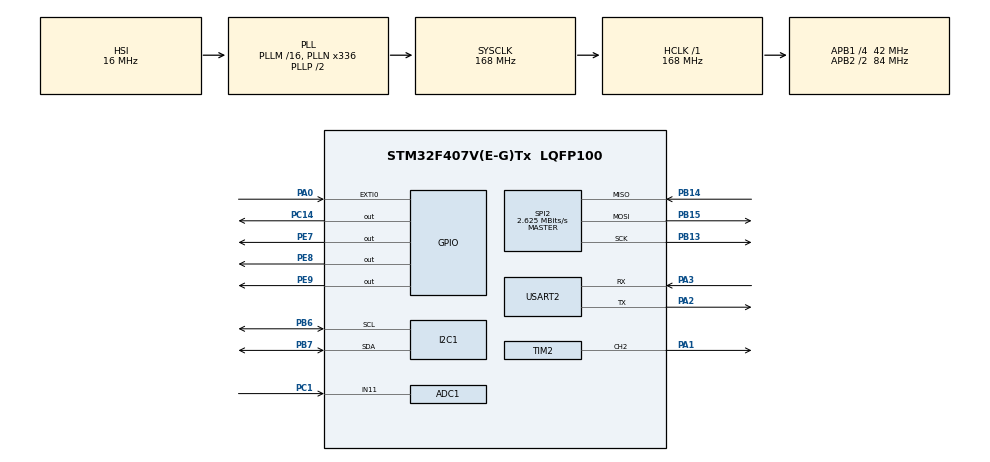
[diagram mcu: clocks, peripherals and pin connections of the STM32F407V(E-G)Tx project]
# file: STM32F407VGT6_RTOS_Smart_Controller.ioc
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ADC1.Channel-1\#ChannelRegularConversion=ADC_CHANNEL_11
ADC1.ContinuousConvMode=ENABLE
ADC1.DMAContinuousRequests=ENABLE
ADC1.InjNumberOfConversion=0
ADC1.NbrOfConversionFlag=1
ADC1.Rank-1\#ChannelRegularConversion=1
ADC1.SamplingTime-1\#ChannelRegularConversion=ADC_SAMPLETIME_56CYCLES
ADC1.master=1
Dma.ADC1.0.Direction=DMA_PERIPH_TO_MEMORY
Dma.ADC1.0.FIFOMode=DMA_FIFOMODE_DISABLE
Dma.ADC1.0.Instance=DMA2_Stream0
Dma.ADC1.0.MemDataAlignment=DMA_MDATAALIGN_HALFWORD
Dma.ADC1.0.MemInc=DMA_MINC_ENABLE
Dma.ADC1.0.Mode=DMA_CIRCULAR
Dma.ADC1.0.PeriphDataAlignment=DMA_PDATAALIGN_HALFWORD
Dma.ADC1.0.PeriphInc=DMA_PINC_DISABLE
Dma.ADC1.0.Priority=DMA_PRIORITY_LOW
Dma.Request0=ADC1
Dma.Request1=USART2_RX
Dma.USART2_RX.1.Direction=DMA_PERIPH_TO_MEMORY
Dma.USART2_RX.1.FIFOMode=DMA_FIFOMODE_DISABLE
Dma.USART2_RX.1.Instance=DMA1_Stream5
Dma.USART2_RX.1.MemDataAlignment=DMA_MDATAALIGN_BYTE
Dma.USART2_RX.1.MemInc=DMA_MINC_ENABLE
Dma.USART2_RX.1.Mode=DMA_NORMAL
Dma.USART2_RX.1.PeriphDataAlignment=DMA_PDATAALIGN_BYTE
Dma.USART2_RX.1.PeriphInc=DMA_PINC_DISABLE
Dma.USART2_RX.1.Priority=DMA_PRIORITY_LOW
FREERTOS.Tasks01=backgroundTask,24,256,StartBackgroundTask,Default,NULL,Dynamic,NULL,NULL;sensorTask,24,256,StartSensorTask,Default,NULL,Dynamic,NULL,NULL;displayTask,8,256,StartDisplayTask,Default,NULL,Dynamic,NULL,NULL;controlTask,32,256,StartControlTask,Default,NULL,Dynamic,NULL,NULL;uartTask,24,256,StartUartTask,Default,NULL,Dynamic,NULL,NULL
FREERTOS.configCHECK_FOR_STACK_OVERFLOW=2
FREERTOS.configUSE_NEWLIB_REENTRANT=1
Mcu.Family=STM32F4
Mcu.Name=STM32F407V(E-G)Tx
Mcu.Package=LQFP100
NVIC.DMA1_Stream5_IRQn=true\:5\:0\:false\:false\:true\:true\:false\:true\:true
NVIC.DMA2_Stream0_IRQn=true\:5\:0\:false\:false\:true\:true\:false\:true\:true
NVIC.EXTI0_IRQn=true\:5\:0\:false\:false\:true\:true\:true\:true\:true
NVIC.PriorityGroup=NVIC_PRIORITYGROUP_4
NVIC.TIM6_DAC_IRQn=true\:15\:0\:false\:false\:true\:false\:false\:true\:true
NVIC.TimeBase=TIM6_DAC_IRQn
NVIC.TimeBaseIP=TIM6
NVIC.USART2_IRQn=true\:5\:0\:false\:false\:true\:true\:true\:true\:true
PA0-WKUP.GPIO_PuPd=GPIO_PULLDOWN
PA0-WKUP.Signal=GPXTI0
PA1.Signal=S_TIM2_CH2
PA13.Mode=Serial_Wire
PA13.Signal=SYS_JTMS-SWDIO
PA14.Mode=Serial_Wire
PA14.Signal=SYS_JTCK-SWCLK
PA2.Mode=Asynchronous
PA2.Signal=USART2_TX
PA3.Mode=Asynchronous
PA3.Signal=USART2_RX
PB13.Mode=Full_Duplex_Master
PB13.Signal=SPI2_SCK
PB14.Mode=Full_Duplex_Master
PB14.Signal=SPI2_MISO
PB15.Mode=Full_Duplex_Master
PB15.Signal=SPI2_MOSI
PB6.Mode=I2C
PB6.Signal=I2C1_SCL
PB7.Mode=I2C
PB7.Signal=I2C1_SDA
PC1.Signal=ADCx_IN11
PC14-OSC32_IN.Signal=GPIO_Output
PE7.PinState=GPIO_PIN_SET
PE7.Signal=GPIO_Output
PE8.Signal=GPIO_Output
PE9.Signal=GPIO_Output
ProjectManager.HeapSize=0x200
ProjectManager.StackSize=0x400
ProjectManager.TargetToolchain=STM32CubeIDE
RCC.48MHZClocksFreq_Value=84000000
RCC.AHBFreq_Value=168000000
RCC.APB1CLKDivider=RCC_HCLK_DIV4
RCC.APB1Freq_Value=42000000
RCC.APB1TimFreq_Value=84000000
RCC.APB2CLKDivider=RCC_HCLK_DIV2
RCC.APB2Freq_Value=84000000
RCC.APB2TimFreq_Value=168000000
RCC.CortexFreq_Value=168000000
RCC.HCLKFreq_Value=168000000
RCC.HSE_VALUE=25000000
RCC.HSI_VALUE=16000000
RCC.LSE_VALUE=32768
RCC.PLLN=336
RCC.SYSCLKFreq_VALUE=168000000
RCC.SYSCLKSource=RCC_SYSCLKSOURCE_PLLCLK
RCC.VCOOutputFreq_Value=336000000
SH.ADCx_IN11.0=ADC1_IN11,IN11
SH.S_TIM2_CH2.0=TIM2_CH2,PWM Generation2 CH2
SPI2.BaudRatePrescaler=SPI_BAUDRATEPRESCALER_16
SPI2.CalculateBaudRate=2.625 MBits/s
SPI2.Direction=SPI_DIRECTION_2LINES
SPI2.Mode=SPI_MODE_MASTER
SPI2.VirtualType=VM_MASTER
TIM2.Channel-PWM\ Generation2\ CH2=TIM_CHANNEL_2
TIM2.Period=999
TIM2.Prescaler=83
USART2.VirtualMode=VM_ASYNC
VP_FREERTOS_VS_CMSIS_V2.Mode=CMSIS_V2
VP_SYS_VS_tim6.Mode=TIM6
board=custom

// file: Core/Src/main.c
/* USER CODE BEGIN Header */
/**
  ******************************************************************************
  * @file           : main.c
  * @brief          : Main program body
  ******************************************************************************
  * @attention
  *
  * Copyright (c) 2026 STMicroelectronics.
  * All rights reserved.
  *
  * This software is licensed under terms that can be found in the LICENSE file
  * in the root directory of this software component.
  * If no LICENSE file comes with this software, it is provided AS-IS.
  *
  ******************************************************************************
  */
/* USER CODE END Header */
#include "main.h"
#include "cmsis_os.h"

/* USER CODE BEGIN Includes */
#include <stdio.h>
#include <string.h>
#include "protocol.h"
#include "analog_input.h"
#include "pwm.h"
#include "temperature_sensor.h"
#include "oled.h"
#include "system_state.h"
#include "fault_manager.h"
/* USER CODE END Includes */

/* USER CODE BEGIN PTD */

typedef struct
{
    char text[UART_TX_BUFFER_SIZE];

} UartResponse_t;

/* USER CODE END PTD */

/* USER CODE BEGIN PD */

#define SENSOR_UPDATE_PERIOD_MS     500U

#define DISPLAY_UPDATE_PERIOD_MS    200U

#define TEMP_SENSOR_FAIL_LIMIT      3U

#define CONTROL_UPDATE_PERIOD_MS    20U

#define UART_RX_EVENT_FLAG    (1U << 0)
#define UART_TX_EVENT_FLAG    (1U << 1)
#define COMMAND_QUEUE_DEPTH    8U
#define RESPONSE_QUEUE_DEPTH   8U

#define SENSOR_RECOVERY_REQUEST_FLAG    (1U << 0)

#define CONTROL_RECOVERY_OK_FLAG        (1U << 0)
#define CONTROL_RECOVERY_FAIL_FLAG      (1U << 1)

#define CONTROL_FAULT_EVENT_FLAG      (1U << 2)

/* AUTO mode: 25 C = 0%, 40 C = 100% PWM */
#define AUTO_TEMP_MIN_X10          250

#define AUTO_TEMP_MAX_X10          400

/* USER CODE END PD */

ADC_HandleTypeDef hadc1;
DMA_HandleTypeDef hdma_adc1;

I2C_HandleTypeDef hi2c1;

SPI_HandleTypeDef hspi2;

TIM_HandleTypeDef htim2;

UART_HandleTypeDef huart2;
DMA_HandleTypeDef hdma_usart2_rx;

/* Definitions for backgroundTask */
osThreadId_t backgroundTaskHandle;
const osThreadAttr_t backgroundTask_attributes = {
  .name = "backgroundTask",
  .stack_size = 256 * 4,
  .priority = (osPriority_t) osPriorityNormal,
};
/* Definitions for sensorTask */
osThreadId_t sensorTaskHandle;
const osThreadAttr_t sensorTask_attributes = {
  .name = "sensorTask",
  .stack_size = 256 * 4,
  .priority = (osPriority_t) osPriorityNormal,
};
/* Definitions for displayTask */
osThreadId_t displayTaskHandle;
const osThreadAttr_t displayTask_attributes = {
  .name = "displayTask",
  .stack_size = 256 * 4,
  .priority = (osPriority_t) osPriorityLow,
};
/* Definitions for controlTask */
osThreadId_t controlTaskHandle;
const osThreadAttr_t controlTask_attributes = {
  .name = "controlTask",
  .stack_size = 256 * 4,
  .priority = (osPriority_t) osPriorityAboveNormal,
};
/* Definitions for uartTask */
osThreadId_t uartTaskHandle;
const osThreadAttr_t uartTask_attributes = {
  .name = "uartTask",
  .stack_size = 256 * 4,
  .priority = (osPriority_t) osPriorityNormal,
};
/* USER CODE BEGIN PV */

volatile uint8_t button_event = 0;

volatile uint16_t uart_rx_length = 0;

/* Data received by UART DMA */
uint8_t uart_rx_buffer[UART_RX_BUFFER_SIZE + 1U];

/* Stores one complete UART command */
char uart_line_buffer[UART_RX_BUFFER_SIZE + 1U];

static uint16_t uart_line_length = 0U;

/* UART response */
char uart_tx_buffer[UART_TX_BUFFER_SIZE];

/* Result after ASCII parsing. */
ProtocolCommand_t received_command;

/*
 * Latest valid temperature.
 *
 * Unit:
 * Celsius x10
 *
 * 25.5 C = 255
 */
static int16_t latest_temperature_x10 = 0;

/*
 * Software timing.
 */
static uint8_t temp_sensor_fail_count = 0;

TempSensorStatus_t debug_temp_init;
TempSensorStatus_t debug_temp_read;

static osMessageQueueId_t commandQueueHandle;
static osMessageQueueId_t responseQueueHandle;

static osEventFlagsId_t faultEventHandle;

static uint8_t recovery_pending = 0U;

volatile uint32_t stack_free_background = 0U;
volatile uint32_t stack_free_sensor     = 0U;
volatile uint32_t stack_free_display    = 0U;
volatile uint32_t stack_free_control    = 0U;
volatile uint32_t stack_free_uart       = 0U;

/* USER CODE END PV */

void SystemClock_Config(void);
static void MX_GPIO_Init(void);
static void MX_DMA_Init(void);
static void MX_ADC1_Init(void);
static void MX_I2C1_Init(void);
static void MX_TIM2_Init(void);
static void MX_SPI2_Init(void);
static void MX_USART2_UART_Init(void);
void StartBackgroundTask(void *argument);
void StartSensorTask(void *argument);
void StartDisplayTask(void *argument);
void StartControlTask(void *argument);
void StartUartTask(void *argument);

/* USER CODE BEGIN PFP */

/* =========================================================
 * Common / Utility
 * ========================================================= */
static const char *App_StateToString(
    SystemState_t state
);

/* =========================================================
 * UART
 * ========================================================= */
static void App_SendText(const char *text);

static void App_StartUartReceive(void);

static void App_ProcessUartRxData(void);

static void App_ProcessUartCommand(void);

static void App_HandleCommand(void);

static void App_SendStatus(void);

static void App_QueueResponse(const UartResponse_t *response);

/* =========================================================
 * Sensor
 * ========================================================= */
static void App_ProcessSensor(void);

static uint8_t App_RecoverTemperatureSensor(void);

/* =========================================================
 * Fault Management
 * ========================================================= */
static void App_ReportFault(uint16_t fault);

static void App_ProcessPendingFaults(void);

static void App_CheckCriticalFault(void);

/* =========================================================
 * Control
 * ========================================================= */
static void App_HandleControlCommand(const ProtocolCommand_t *command);

static void App_ProcessControl(void);

/* =========================================================
 * Display
 * ========================================================= */
static void App_ProcessDisplay(void);

/* =========================================================
 * Background
 * ========================================================= */
static void App_ProcessBackground(void);

static void App_UpdateStackUsage(void);

/* USER CODE END PFP */

/* USER CODE BEGIN 0 */

static const char *App_StateToString(
    SystemState_t state
)
{
    switch (state)
    {
        case SYSTEM_STATE_INIT:
            return "INIT";

        case SYSTEM_STATE_IDLE:
            return "IDLE";

        case SYSTEM_STATE_MANUAL:
            return "MANUAL";

        case SYSTEM_STATE_AUTO:
            return "AUTO";

        case SYSTEM_STATE_FAULT:
            return "FAULT";

        default:
            return "UNKNOWN";
    }
}

static void App_SendText(const char *text)
{
    HAL_UART_Transmit(
        &huart2,

        (uint8_t *)text,

        (uint16_t)strlen(text),

        100
    );
}

static void App_StartUartReceive(void)
{
    uart_rx_length = 0U;

    /*
     * Clear old contents.
     */
    memset(
        uart_rx_buffer,
        0,
        sizeof(uart_rx_buffer)
    );

    /* Start UART DMA receive with IDLE detection */
    HAL_UARTEx_ReceiveToIdle_DMA(
        &huart2,

        uart_rx_buffer,

        UART_RX_BUFFER_SIZE
    );

    /* Half-transfer event is not needed */
    if (huart2.hdmarx != NULL)
    {
        __HAL_DMA_DISABLE_IT(
            huart2.hdmarx,
            DMA_IT_HT
        );
    }
}

static void App_ProcessUartRxData(void)
{
    uint16_t received_length;
    uint16_t i;

    received_length = uart_rx_length;

    if (received_length > UART_RX_BUFFER_SIZE)
    {
        received_length = UART_RX_BUFFER_SIZE;
    }

    for (i = 0U; i < received_length; i++)
    {
        char ch =
            (char)uart_rx_buffer[i];

        /*
         * CR / LF means that one
         * complete command has arrived.
         */
        if ((ch == '\r') || (ch == '\n'))
        {
            if (uart_line_length > 0U)
            {
                App_ProcessUartCommand();
            }
        }
        else
        {
            /*
             * Append received character.
             */
            if (uart_line_length < UART_RX_BUFFER_SIZE)
            {
                uart_line_buffer[uart_line_length] = ch;

                uart_line_length++;
            }
            else
            {
                /*
                 * Command too long.
                 */
                uart_line_length = 0U;

                App_SendText("ERR COMMAND TOO LONG\r\n");
            }
        }
    }

    /*
     * Ready to receive the next
     * UART DMA chunk.
     */
    App_StartUartReceive();
}

static void App_ProcessUartCommand(void)
{
    ProtocolStatus_t status;

    uart_line_buffer[uart_line_length] = '\0';

    status =
        Protocol_ParseAscii(
            uart_line_buffer,
            &received_command
        );

    if (status == PROTOCOL_OK)
    {
        switch (received_command.command)
        {
            case PROTOCOL_CMD_START:
            case PROTOCOL_CMD_STOP:
            case PROTOCOL_CMD_SET_PWM:
            case PROTOCOL_CMD_AUTO_MODE:
            case PROTOCOL_CMD_MANUAL_MODE:
            case PROTOCOL_CMD_CLEAR_FAULT:
            {
                if (osMessageQueuePut(commandQueueHandle, &received_command, 0U, 0U) != osOK)
                {
                    App_SendText("ERR COMMAND QUEUE FULL\r\n");
                }

                break;
            }

            default:
            {
                App_HandleCommand();
                break;
            }
        }
    }
    else if (status == PROTOCOL_INVALID_COMMAND)
    {
        App_ReportFault(FAULT_INVALID_COMMAND);

        App_SendText("ERR UNKNOWN COMMAND\r\n");
    }
    else if (status == PROTOCOL_INVALID_PARAMETER)
    {
    	App_ReportFault(FAULT_INVALID_PARAMETER);

        App_SendText("ERR INVALID PARAMETER\r\n");
    }

    /* Ready for next command */
    uart_line_length = 0U;

    uart_line_buffer[0] = '\0';
}

/*
 * UART command dispatcher.
 */
static void App_HandleCommand(void)
{
    switch (received_command.command)
    {
        case PROTOCOL_CMD_PING:
        {
            App_SendText("PONG\r\n");

            break;
        }

        case PROTOCOL_CMD_GET_STATUS:
        {
            App_SendStatus();

            break;
        }

        case PROTOCOL_CMD_READ_SENSOR:
        {
            int32_t temperature;

            int32_t positive_temperature;

            if ((FaultManager_Get() & FAULT_TEMP_SENSOR) != 0U)
            {
                App_SendText("ERR TEMP SENSOR\r\n");

                break;
            }

            temperature = latest_temperature_x10;

            if (temperature < 0)
            {
                positive_temperature =- temperature;

                snprintf(
                    uart_tx_buffer,
                    sizeof(uart_tx_buffer),

                    "TEMP=-%ld.%ldC\r\n",

                    (long)
                        (positive_temperature / 10),

                    (long)
                        (positive_temperature % 10)
                );
            }
            else
            {
                snprintf(
                    uart_tx_buffer,
                    sizeof(uart_tx_buffer),

                    "TEMP=%ld.%ldC\r\n",

                    (long)
                        (temperature / 10),

                    (long)
                        (temperature % 10)
                );
            }

            App_SendText(uart_tx_buffer);

            break;
        }

        case PROTOCOL_CMD_LED_ON:
        {
            HAL_GPIO_WritePin(
                GPIOC,
                GPIO_PIN_14,
                GPIO_PIN_SET
            );

            App_SendText("OK LED=ON\r\n");

            break;
        }

        case PROTOCOL_CMD_LED_OFF:
        {
            HAL_GPIO_WritePin(
                GPIOC,
                GPIO_PIN_14,
                GPIO_PIN_RESET
            );

            App_SendText(
                "OK LED=OFF\r\n"
            );

            break;
        }

        case PROTOCOL_CMD_LED_TOGGLE:
        {
            HAL_GPIO_TogglePin(
                GPIOC,
                GPIO_PIN_14
            );

            App_SendText(
                "OK LED=TOGGLE\r\n"
            );

            break;
        }

        case PROTOCOL_CMD_READ_ADC:
        {
            snprintf(
                uart_tx_buffer,
                sizeof(uart_tx_buffer),

                "ADC=%u\r\n",

                (unsigned int)
                    AnalogInput_GetRaw()
            );

            App_SendText(uart_tx_buffer);

            break;
        }

        default:
        {
            App_SendText("ERR UNKNOWN COMMAND\r\n");

            break;
        }
    }
}

static void App_SendStatus(void)
{
    uint16_t fault;
    int32_t temperature;
    int32_t positive_temperature;

    fault = FaultManager_Get();

    temperature = latest_temperature_x10;

    /*
     * Temperature sensor fault
     */
    if ((fault & FAULT_TEMP_SENSOR) != 0U)
    {
        snprintf(
            uart_tx_buffer,
            sizeof(uart_tx_buffer),
            "MODE=%s TEMP=ERR ADC=%u PWM=%u FAULT=0x%04X\r\n",
            App_StateToString(SystemState_Get()),
            (unsigned int)AnalogInput_GetRaw(),
            (unsigned int)PWM_GetDuty(),
            (unsigned int)fault
        );
    }

    /*
     * Negative temperature
     */
    else if (temperature < 0)
    {
        positive_temperature = -temperature;

        snprintf(
            uart_tx_buffer,
            sizeof(uart_tx_buffer),
            "MODE=%s TEMP=-%ld.%ldC ADC=%u PWM=%u FAULT=0x%04X\r\n",
            App_StateToString(SystemState_Get()),
            (long)(positive_temperature / 10),
            (long)(positive_temperature % 10),
            (unsigned int)AnalogInput_GetRaw(),
            (unsigned int)PWM_GetDuty(),
            (unsigned int)fault
        );
    }

    /*
     * Positive temperature
     */
    else
    {
        snprintf(
            uart_tx_buffer,
            sizeof(uart_tx_buffer),
            "MODE=%s TEMP=%ld.%ldC ADC=%u PWM=%u FAULT=0x%04X\r\n",
            App_StateToString(SystemState_Get()),
            (long)(temperature / 10),
            (long)(temperature % 10),
            (unsigned int)AnalogInput_GetRaw(),
            (unsigned int)PWM_GetDuty(),
            (unsigned int)fault
        );
    }

    App_SendText(uart_tx_buffer);
}

static void App_QueueResponse(const UartResponse_t *response)
{
    if (response == NULL)
    {
        return;
    }

    if (osMessageQueuePut(responseQueueHandle, response, 0U, 0U) == osOK)
    {
        /*
         * Wake UART task because
         * a response is ready.
         */
        osThreadFlagsSet(uartTaskHandle, UART_TX_EVENT_FLAG);
    }
}

/*
 * Periodically read I2C
 * temperature sensor.
 */
static void App_ProcessSensor(void)
{
    int16_t temperature;

    if (TempSensor_ReadCelsiusX10(&temperature) == TEMP_SENSOR_OK)
    {
        latest_temperature_x10 = temperature;

        /* Sensor is working normally */
        temp_sensor_fail_count = 0U;
    }
    else
    {
        if (temp_sensor_fail_count < TEMP_SENSOR_FAIL_LIMIT)
        {
            temp_sensor_fail_count++;

            if (temp_sensor_fail_count == TEMP_SENSOR_FAIL_LIMIT)
            {
                App_ReportFault(FAULT_TEMP_SENSOR);
            }
        }
    }
}

static uint8_t App_RecoverTemperatureSensor(void)
{
    int16_t temperature;

    /*
     * Reset STM32 I2C peripheral state.
     *
     * This function is executed only
     * by SensorTask, so I2C ownership
     * is preserved.
     */
    if (HAL_I2C_DeInit(&hi2c1) != HAL_OK)
    {
        return 0U;
    }

    if (HAL_I2C_Init(&hi2c1) != HAL_OK)
    {
        return 0U;
    }

    /*
     * Give the bus / sensor a short
     * settling time.
     */
    osDelay(5U);

    /*
     * Check whether LM75 ACKs.
     */
    if (TempSensor_Init() != TEMP_SENSOR_OK)
    {
        return 0U;
    }

    /*
     * Verify with a real temperature read.
     */
    if (TempSensor_ReadCelsiusX10(&temperature) != TEMP_SENSOR_OK)
    {
        return 0U;
    }

    latest_temperature_x10 = temperature;
    temp_sensor_fail_count = 0U;

    return 1U;
}

static void App_ReportFault(uint16_t fault)
{
    uint32_t result;

    if (fault == FAULT_NONE)
    {
        return;
    }

    /*
     * Store the fault bit(s).
     */
    result = osEventFlagsSet(faultEventHandle, (uint32_t)fault);

    if ((result & osFlagsError) != 0U)
    {
        return;
    }

    /*
     * Wake ControlTask so that
     * the fault can be handled
     * immediately.
     */
    osThreadFlagsSet(controlTaskHandle, CONTROL_FAULT_EVENT_FLAG);
}

static void App_ProcessPendingFaults(void)
{
    uint32_t pending_faults;

    pending_faults = osEventFlagsGet(faultEventHandle);

    if ((pending_faults & osFlagsError) != 0U)
    {
        return;
    }

    if (pending_faults == 0U)
    {
        return;
    }

    /*
     * Remove the pending report
     * from the RTOS event object.
     */
    osEventFlagsClear(faultEventHandle, pending_faults);

    /*
     * Only ControlTask calls this
     * function at runtime.
     */
    FaultManager_Set((uint16_t)pending_faults);
}

/*
 * If a critical hardware fault
 * exists, force the system into
 * FAULT state.
 */
static void App_CheckCriticalFault(void)
{
    if (FaultManager_HasCritical())
    {
        if (SystemState_Get() != SYSTEM_STATE_FAULT)
        {
            SystemState_Set(SYSTEM_STATE_FAULT);
        }

        PWM_SetDuty(0);
    }
}

static void App_HandleControlCommand(const ProtocolCommand_t *command)
{

	UartResponse_t response;

	if (command == NULL)
	{
		return;
	}

	memset(&response, 0, sizeof(response));

    switch (command->command)
    {
		case PROTOCOL_CMD_START:
		{
			if (FaultManager_HasCritical())
			{
				snprintf(
					response.text,
					sizeof(response.text),
					"ERR CRITICAL FAULT\r\n"
				);
			}
			else
			{
				SystemState_Set(SYSTEM_STATE_MANUAL);

				snprintf(
					response.text,
					sizeof(response.text),
					"OK MODE=MANUAL\r\n"
				);
			}

			App_QueueResponse(&response);

			break;
		}

		case PROTOCOL_CMD_STOP:
		{
		    PWM_SetDuty(0);

		    if (SystemState_Get() != SYSTEM_STATE_FAULT)
		    {
		        SystemState_Set(SYSTEM_STATE_IDLE);
		    }

		    snprintf(
		        response.text,
		        sizeof(response.text),
		        "OK MODE=%s PWM=0\r\n",
		        App_StateToString(
		            SystemState_Get()
		        )
		    );

		    App_QueueResponse( &response);

		    break;
		}

		case PROTOCOL_CMD_SET_PWM:
		{
		    uint16_t requested_duty;

		    requested_duty = command->data;

		    /*
		     * Critical fault always
		     * blocks PWM commands.
		     */
		    if (FaultManager_HasCritical())
		    {
		        snprintf(
		            response.text,
		            sizeof(response.text),
		            "ERR CRITICAL FAULT\r\n"
		        );

		        App_QueueResponse(&response);

		        break;
		    }

		    /*
		     * PWM command is only allowed
		     * in MANUAL mode.
		     */
		    if (SystemState_Get() != SYSTEM_STATE_MANUAL)
		    {
		        snprintf(
		            response.text,
		            sizeof(response.text),
		            "ERR MODE NOT MANUAL\r\n"
		        );

		        App_QueueResponse(&response);

		        break;
		    }

		    /*
		     * Validate duty range.
		     */
		    if (requested_duty > 100U)
		    {
		        /*
		         * This function executes in
		         * ControlTask context, so direct
		         * FaultManager_Set is allowed.
		         */
		        FaultManager_Set(FAULT_INVALID_PARAMETER);

		        snprintf(
		            response.text,
		            sizeof(response.text),
		            "ERR PWM RANGE 0-100\r\n"
		        );

		        App_QueueResponse(&response);

		        break;
		    }

		    PWM_SetDuty((uint8_t)requested_duty);

		    snprintf(
		        response.text,
		        sizeof(response.text),
		        "OK PWM=%u\r\n",
		        (unsigned int)PWM_GetDuty()
		    );

		    App_QueueResponse(&response);

		    break;
		}

        case PROTOCOL_CMD_AUTO_MODE:
        {
        	if (FaultManager_HasCritical())
			{
				snprintf(
					response.text,
					sizeof(response.text),
					"ERR CRITICAL FAULT\r\n"
				);
			}
			else
			{
				SystemState_Set(SYSTEM_STATE_AUTO);

				snprintf(
					response.text,
					sizeof(response.text),
					"OK MODE=AUTO\r\n"
				);
			}

			App_QueueResponse(&response);

			break;
        }

        case PROTOCOL_CMD_MANUAL_MODE:
        {
            if (FaultManager_HasCritical())
            {
                snprintf(
                    response.text,
                    sizeof(response.text),
                    "ERR CRITICAL FAULT\r\n"
                );
            }
            else
            {
                SystemState_Set(SYSTEM_STATE_MANUAL);

                snprintf(
                    response.text,
                    sizeof(response.text),
                    "OK MODE=MANUAL\r\n"
                );
            }

            App_QueueResponse(&response);

            break;
        }

        case PROTOCOL_CMD_CLEAR_FAULT:
        {
            if (recovery_pending)
            {
                snprintf(
                    response.text,
                    sizeof(response.text),
                    "ERR RECOVERY BUSY\r\n"
                );

                App_QueueResponse(&response);

                break;
            }

            recovery_pending = 1U;

            if (osThreadFlagsSet(sensorTaskHandle, SENSOR_RECOVERY_REQUEST_FLAG) & osFlagsError)
            {
                recovery_pending = 0U;

                snprintf(
                    response.text,
                    sizeof(response.text),
                    "ERR RECOVERY REQUEST\r\n"
                );

                App_QueueResponse(&response);
            }

            /*
             * No response yet.
             *
             * SensorTask must first
             * perform the recovery.
             */

            break;
        }

        default:
            break;
    }
}

/*
 * System control behavior.
 */
static void App_ProcessControl(void)
{
    SystemState_t state;

    uint8_t duty;

    int32_t temperature;

    state = SystemState_Get();

    switch (state)
    {
        case SYSTEM_STATE_INIT:

            if (PWM_GetDuty() != 0U)
            {
                PWM_SetDuty(0);
            }

            break;

        case SYSTEM_STATE_IDLE:

            if (PWM_GetDuty() != 0U)
            {
                PWM_SetDuty(0);
            }

            break;

		/* MANUAL mode: PWM is controlled by UART command */
        case SYSTEM_STATE_MANUAL:

            break;

        /*
         * AUTO mode:
         *
         * Temperature automatically
         * determines PWM duty.
         */
        case SYSTEM_STATE_AUTO:

            temperature = latest_temperature_x10;

            if (temperature <= AUTO_TEMP_MIN_X10)
            {
                duty = 0U;
            }
            else if (temperature >= AUTO_TEMP_MAX_X10)
            {
                duty = 100U;
            }
            else
            {
                /*
                 * Linear mapping:
                 *
                 * 25 C -> 0%
                 * 40 C -> 100%
                 */
                duty = (uint8_t)(((temperature - AUTO_TEMP_MIN_X10) * 100L) / (AUTO_TEMP_MAX_X10 - AUTO_TEMP_MIN_X10));
            }

            PWM_SetDuty(duty);

            break;

        case SYSTEM_STATE_FAULT:

            if (PWM_GetDuty() != 0U)
            {
                PWM_SetDuty(0);
            }

            break;

        default:

            break;
    }
}

static void App_ProcessDisplay(void)
{
    char text[22];
    SystemState_t state;

    OLED_Clear();

    /* =========================
     * MODE
     * ========================= */
    state = SystemState_Get();

    switch (state)
    {
        case SYSTEM_STATE_INIT:
            OLED_DrawString(0, 0, "MODE: INIT");
            break;

        case SYSTEM_STATE_IDLE:
            OLED_DrawString(0, 0, "MODE: IDLE");
            break;

        case SYSTEM_STATE_MANUAL:
            OLED_DrawString(0, 0, "MODE: MANUAL");
            break;

        case SYSTEM_STATE_AUTO:
            OLED_DrawString(0, 0, "MODE: AUTO");
            break;

        case SYSTEM_STATE_FAULT:
            OLED_DrawString(0, 0, "MODE: FAULT");
            break;

        default:
            OLED_DrawString(0, 0, "MODE: UNKNOWN");
            break;
    }

    /* =========================
     * TEMPERATURE
     * ========================= */
    snprintf(
        text,
        sizeof(text),
        "TEMP: %d.%dC",
        latest_temperature_x10 / 10,
        (latest_temperature_x10 < 0) ? -(latest_temperature_x10 % 10) : (latest_temperature_x10 % 10)
    );

    OLED_DrawString(0, 1, text);

    /* =========================
     * ADC
     * ========================= */
    snprintf(
        text,
        sizeof(text),
        "ADC: %u",
        (unsigned int)AnalogInput_GetRaw()
    );

    OLED_DrawString(0, 2, text);

    /* =========================
     * PWM
     * ========================= */
    snprintf(
        text,
        sizeof(text),
        "PWM: %u%%",
        (unsigned int)PWM_GetDuty()
    );

    OLED_DrawString(0, 3, text);

    /* =========================
     * FAULT
     * ========================= */
    if (FaultManager_Get() == 0U)
    {
        OLED_DrawString(0, 4, "FAULT: NONE");
    }
    else
    {
        OLED_DrawString(0, 4, "FAULT: YES");
    }

    OLED_Update();
}

static void App_ProcessBackground(void)
{
	AnalogInput_Process();

	if (button_event)
	{
	  button_event = 0;

	  HAL_GPIO_TogglePin(GPIOC, GPIO_PIN_14);
	}
}

static void App_UpdateStackUsage(void)
{
    stack_free_background = osThreadGetStackSpace(backgroundTaskHandle);

    stack_free_sensor = osThreadGetStackSpace(sensorTaskHandle);

    stack_free_display = osThreadGetStackSpace(displayTaskHandle);

    stack_free_control = osThreadGetStackSpace(controlTaskHandle);

    stack_free_uart = osThreadGetStackSpace(uartTaskHandle);
}

/* USER CODE END 0 */

int main(void)
{

  /* MCU Configuration--------------------------------------------------------*/

  /* Reset of all peripherals, Initializes the Flash interface and the Systick. */
  HAL_Init();

  /* Configure the system clock */
  SystemClock_Config();

  /* Initialize all configured peripherals */
  MX_GPIO_Init();
  MX_DMA_Init();
  MX_ADC1_Init();
  MX_I2C1_Init();
  MX_TIM2_Init();
  MX_SPI2_Init();
  MX_USART2_UART_Init();
  /* USER CODE BEGIN 2 */

  FaultManager_Init();

  SystemState_Init();

  AnalogInput_Init();

  PWM_Init();

  /*
   * SPI OLED
   */

  HAL_Delay(100);

  OLED_Init();

  OLED_Clear();

  OLED_DrawString(0, 0, "SYSTEM START");

  OLED_Update();

  /*
   * I2C temperature sensor
   */
  debug_temp_init = TempSensor_Init();

  if (debug_temp_init == TEMP_SENSOR_OK)
  {
      debug_temp_read = TempSensor_ReadCelsiusX10(&latest_temperature_x10);
  }
  else
  {
      debug_temp_read = TEMP_SENSOR_ERROR;
  }

  if ((debug_temp_init != TEMP_SENSOR_OK) || (debug_temp_read != TEMP_SENSOR_OK))
  {
      FaultManager_Set(FAULT_TEMP_SENSOR);
  }

  /*
   * Decide initial state.
   */
  if (FaultManager_HasCritical())
  {
      SystemState_Set(SYSTEM_STATE_FAULT);
  }
  else
  {
      SystemState_Set(SYSTEM_STATE_IDLE);
  }

  /* USER CODE END 2 */

  /* Init scheduler */
  osKernelInitialize();

  /* USER CODE BEGIN RTOS_QUEUES */
  /* add queues, ... */

  commandQueueHandle = osMessageQueueNew(COMMAND_QUEUE_DEPTH, sizeof(ProtocolCommand_t), NULL);
  if (commandQueueHandle == NULL)
  {
      Error_Handler();
  }

  responseQueueHandle = osMessageQueueNew(RESPONSE_QUEUE_DEPTH, sizeof(UartResponse_t), NULL);
  if (responseQueueHandle == NULL)
  {
      Error_Handler();
  }

  /* USER CODE END RTOS_QUEUES */

  /* Create the thread(s) */
  /* creation of backgroundTask */
  backgroundTaskHandle = osThreadNew(StartBackgroundTask, NULL, &backgroundTask_attributes);

  /* creation of sensorTask */
  sensorTaskHandle = osThreadNew(StartSensorTask, NULL, &sensorTask_attributes);

  /* creation of displayTask */
  displayTaskHandle = osThreadNew(StartDisplayTask, NULL, &displayTask_attributes);

  /* creation of controlTask */
  controlTaskHandle = osThreadNew(StartControlTask, NULL, &controlTask_attributes);

  /* creation of uartTask */
  uartTaskHandle = osThreadNew(StartUartTask, NULL, &uartTask_attributes);

  /* USER CODE BEGIN RTOS_EVENTS */
  /* add events, ... */
  faultEventHandle = osEventFlagsNew(NULL);

  if (faultEventHandle == NULL)
  {
      Error_Handler();
  }
  /* USER CODE END RTOS_EVENTS */

  /* Start scheduler */
  osKernelStart();

  /* We should never get here as control is now taken by the scheduler */

  /* Infinite loop */
  while (1)
  {

  }
}

void SystemClock_Config(void)
{
  RCC_OscInitTypeDef RCC_OscInitStruct = {0};
  RCC_ClkInitTypeDef RCC_ClkInitStruct = {0};

  /** Configure the main internal regulator output voltage
  */
  __HAL_RCC_PWR_CLK_ENABLE();
  __HAL_PWR_VOLTAGESCALING_CONFIG(PWR_REGULATOR_VOLTAGE_SCALE1);

  /** Initializes the RCC Oscillators according to the specified parameters
  * in the RCC_OscInitTypeDef structure.
  */
  RCC_OscInitStruct.OscillatorType = RCC_OSCILLATORTYPE_HSI;
  RCC_OscInitStruct.HSIState = RCC_HSI_ON;
  RCC_OscInitStruct.HSICalibrationValue = RCC_HSICALIBRATION_DEFAULT;
  RCC_OscInitStruct.PLL.PLLState = RCC_PLL_ON;
  RCC_OscInitStruct.PLL.PLLSource = RCC_PLLSOURCE_HSI;
  RCC_OscInitStruct.PLL.PLLM = 16;
  RCC_OscInitStruct.PLL.PLLN = 336;
  RCC_OscInitStruct.PLL.PLLP = RCC_PLLP_DIV2;
  RCC_OscInitStruct.PLL.PLLQ = 4;
  if (HAL_RCC_OscConfig(&RCC_OscInitStruct) != HAL_OK)
  {
    Error_Handler();
  }

  /** Initializes the CPU, AHB and APB buses clocks
  */
  RCC_ClkInitStruct.ClockType = RCC_CLOCKTYPE_HCLK|RCC_CLOCKTYPE_SYSCLK
                              |RCC_CLOCKTYPE_PCLK1|RCC_CLOCKTYPE_PCLK2;
  RCC_ClkInitStruct.SYSCLKSource = RCC_SYSCLKSOURCE_PLLCLK;
  RCC_ClkInitStruct.AHBCLKDivider = RCC_SYSCLK_DIV1;
  RCC_ClkInitStruct.APB1CLKDivider = RCC_HCLK_DIV4;
  RCC_ClkInitStruct.APB2CLKDivider = RCC_HCLK_DIV2;

  if (HAL_RCC_ClockConfig(&RCC_ClkInitStruct, FLASH_LATENCY_5) != HAL_OK)
  {
    Error_Handler();
  }
}

static void MX_ADC1_Init(void)
{

  ADC_ChannelConfTypeDef sConfig = {0};

  /** Configure the global features of the ADC (Clock, Resolution, Data Alignment and number of conversion)
  */
  hadc1.Instance = ADC1;
  hadc1.Init.ClockPrescaler = ADC_CLOCK_SYNC_PCLK_DIV4;
  hadc1.Init.Resolution = ADC_RESOLUTION_12B;
  hadc1.Init.ScanConvMode = DISABLE;
  hadc1.Init.ContinuousConvMode = ENABLE;
  hadc1.Init.DiscontinuousConvMode = DISABLE;
  hadc1.Init.ExternalTrigConvEdge = ADC_EXTERNALTRIGCONVEDGE_NONE;
  hadc1.Init.ExternalTrigConv = ADC_SOFTWARE_START;
  hadc1.Init.DataAlign = ADC_DATAALIGN_RIGHT;
  hadc1.Init.NbrOfConversion = 1;
  hadc1.Init.DMAContinuousRequests = ENABLE;
  hadc1.Init.EOCSelection = ADC_EOC_SINGLE_CONV;
  if (HAL_ADC_Init(&hadc1) != HAL_OK)
  {
    Error_Handler();
  }

  /** Configure for the selected ADC regular channel its corresponding rank in the sequencer and its sample time.
  */
  sConfig.Channel = ADC_CHANNEL_11;
  sConfig.Rank = 1;
  sConfig.SamplingTime = ADC_SAMPLETIME_56CYCLES;
  if (HAL_ADC_ConfigChannel(&hadc1, &sConfig) != HAL_OK)
  {
    Error_Handler();
  }

}

static void MX_I2C1_Init(void)
{

  hi2c1.Instance = I2C1;
  hi2c1.Init.ClockSpeed = 100000;
  hi2c1.Init.DutyCycle = I2C_DUTYCYCLE_2;
  hi2c1.Init.OwnAddress1 = 0;
  hi2c1.Init.AddressingMode = I2C_ADDRESSINGMODE_7BIT;
  hi2c1.Init.DualAddressMode = I2C_DUALADDRESS_DISABLE;
  hi2c1.Init.OwnAddress2 = 0;
  hi2c1.Init.GeneralCallMode = I2C_GENERALCALL_DISABLE;
  hi2c1.Init.NoStretchMode = I2C_NOSTRETCH_DISABLE;
  if (HAL_I2C_Init(&hi2c1) != HAL_OK)
  {
    Error_Handler();
  }

}

static void MX_SPI2_Init(void)
{

  /* SPI2 parameter configuration*/
  hspi2.Instance = SPI2;
  hspi2.Init.Mode = SPI_MODE_MASTER;
  hspi2.Init.Direction = SPI_DIRECTION_2LINES;
  hspi2.Init.DataSize = SPI_DATASIZE_8BIT;
  hspi2.Init.CLKPolarity = SPI_POLARITY_LOW;
  hspi2.Init.CLKPhase = SPI_PHASE_1EDGE;
  hspi2.Init.NSS = SPI_NSS_SOFT;
  hspi2.Init.BaudRatePrescaler = SPI_BAUDRATEPRESCALER_16;
  hspi2.Init.FirstBit = SPI_FIRSTBIT_MSB;
  hspi2.Init.TIMode = SPI_TIMODE_DISABLE;
  hspi2.Init.CRCCalculation = SPI_CRCCALCULATION_DISABLE;
  hspi2.Init.CRCPolynomial = 10;
  if (HAL_SPI_Init(&hspi2) != HAL_OK)
  {
    Error_Handler();
  }

}

static void MX_TIM2_Init(void)
{

  TIM_MasterConfigTypeDef sMasterConfig = {0};
  TIM_OC_InitTypeDef sConfigOC = {0};

  htim2.Instance = TIM2;
  htim2.Init.Prescaler = 83;
  htim2.Init.CounterMode = TIM_COUNTERMODE_UP;
  htim2.Init.Period = 999;
  htim2.Init.ClockDivision = TIM_CLOCKDIVISION_DIV1;
  htim2.Init.AutoReloadPreload = TIM_AUTORELOAD_PRELOAD_DISABLE;
  if (HAL_TIM_PWM_Init(&htim2) != HAL_OK)
  {
    Error_Handler();
  }
  sMasterConfig.MasterOutputTrigger = TIM_TRGO_RESET;
  sMasterConfig.MasterSlaveMode = TIM_MASTERSLAVEMODE_DISABLE;
  if (HAL_TIMEx_MasterConfigSynchronization(&htim2, &sMasterConfig) != HAL_OK)
  {
    Error_Handler();
  }
  sConfigOC.OCMode = TIM_OCMODE_PWM1;
  sConfigOC.Pulse = 0;
  sConfigOC.OCPolarity = TIM_OCPOLARITY_HIGH;
  sConfigOC.OCFastMode = TIM_OCFAST_DISABLE;
  if (HAL_TIM_PWM_ConfigChannel(&htim2, &sConfigOC, TIM_CHANNEL_2) != HAL_OK)
  {
    Error_Handler();
  }
  HAL_TIM_MspPostInit(&htim2);

}

static void MX_USART2_UART_Init(void)
{

  huart2.Instance = USART2;
  huart2.Init.BaudRate = 115200;
  huart2.Init.WordLength = UART_WORDLENGTH_8B;
  huart2.Init.StopBits = UART_STOPBITS_1;
  huart2.Init.Parity = UART_PARITY_NONE;
  huart2.Init.Mode = UART_MODE_TX_RX;
  huart2.Init.HwFlowCtl = UART_HWCONTROL_NONE;
  huart2.Init.OverSampling = UART_OVERSAMPLING_16;
  if (HAL_UART_Init(&huart2) != HAL_OK)
  {
    Error_Handler();
  }

}

static void MX_DMA_Init(void)
{

  /* DMA controller clock enable */
  __HAL_RCC_DMA2_CLK_ENABLE();
  __HAL_RCC_DMA1_CLK_ENABLE();

  /* DMA interrupt init */
  /* DMA1_Stream5_IRQn interrupt configuration */
  HAL_NVIC_SetPriority(DMA1_Stream5_IRQn, 5, 0);
  HAL_NVIC_EnableIRQ(DMA1_Stream5_IRQn);
  /* DMA2_Stream0_IRQn interrupt configuration */
  HAL_NVIC_SetPriority(DMA2_Stream0_IRQn, 5, 0);
  HAL_NVIC_EnableIRQ(DMA2_Stream0_IRQn);

}

static void MX_GPIO_Init(void)
{
  GPIO_InitTypeDef GPIO_InitStruct = {0};

  /* GPIO Ports Clock Enable */
  __HAL_RCC_GPIOC_CLK_ENABLE();
  __HAL_RCC_GPIOA_CLK_ENABLE();
  __HAL_RCC_GPIOE_CLK_ENABLE();
  __HAL_RCC_GPIOB_CLK_ENABLE();

  /*Configure GPIO pin Output Level */
  HAL_GPIO_WritePin(GPIOC, GPIO_PIN_14, GPIO_PIN_RESET);

  /*Configure GPIO pin Output Level */
  HAL_GPIO_WritePin(GPIOE, GPIO_PIN_7, GPIO_PIN_SET);

  /*Configure GPIO pin Output Level */
  HAL_GPIO_WritePin(GPIOE, GPIO_PIN_8|GPIO_PIN_9, GPIO_PIN_RESET);

  /*Configure GPIO pin : PC14 */
  GPIO_InitStruct.Pin = GPIO_PIN_14;
  GPIO_InitStruct.Mode = GPIO_MODE_OUTPUT_PP;
  GPIO_InitStruct.Pull = GPIO_NOPULL;
  GPIO_InitStruct.Speed = GPIO_SPEED_FREQ_LOW;
  HAL_GPIO_Init(GPIOC, &GPIO_InitStruct);

  /*Configure GPIO pin : PA0 */
  GPIO_InitStruct.Pin = GPIO_PIN_0;
  GPIO_InitStruct.Mode = GPIO_MODE_IT_RISING;
  GPIO_InitStruct.Pull = GPIO_PULLDOWN;
  HAL_GPIO_Init(GPIOA, &GPIO_InitStruct);

  /*Configure GPIO pins : PE7 PE8 PE9 */
  GPIO_InitStruct.Pin = GPIO_PIN_7|GPIO_PIN_8|GPIO_PIN_9;
  GPIO_InitStruct.Mode = GPIO_MODE_OUTPUT_PP;
  GPIO_InitStruct.Pull = GPIO_NOPULL;
  GPIO_InitStruct.Speed = GPIO_SPEED_FREQ_LOW;
  HAL_GPIO_Init(GPIOE, &GPIO_InitStruct);

  /* EXTI interrupt init*/
  HAL_NVIC_SetPriority(EXTI0_IRQn, 5, 0);
  HAL_NVIC_EnableIRQ(EXTI0_IRQn);

}

/* USER CODE BEGIN 4 */

void HAL_GPIO_EXTI_Callback(uint16_t GPIO_PIN)
{
	if(GPIO_PIN == GPIO_PIN_0)
	{
		button_event = 1;
	}
}

void HAL_UARTEx_RxEventCallback(UART_HandleTypeDef *huart, uint16_t Size)
{
	if (huart->Instance == USART2)
	    {
	        uart_rx_length = Size;

	        osThreadFlagsSet(uartTaskHandle, UART_RX_EVENT_FLAG);
	    }
}

/* USER CODE END 4 */

void StartBackgroundTask(void *argument)
{
  /* USER CODE BEGIN 5 */
  /* Infinite loop */
	uint32_t last_stack_check;
	uint32_t now;

	last_stack_check = osKernelGetTickCount();

	for (;;)
	{
		App_ProcessBackground();

		now = osKernelGetTickCount();

		if ((now - last_stack_check) >= 1000U)
		{
			App_UpdateStackUsage();

			last_stack_check = now;
		}

		osDelay(1);
	}
  /* USER CODE END 5 */
}

void StartSensorTask(void *argument)
{
  /* USER CODE BEGIN StartSensorTask */
	uint32_t flags;
  /* Infinite loop */
	for (;;)
	{
		flags = osThreadFlagsWait(
			SENSOR_RECOVERY_REQUEST_FLAG,
			osFlagsWaitAny,
			SENSOR_UPDATE_PERIOD_MS
		);

		/*
		 * Recovery request received.
		 */
		if ((flags & osFlagsError) == 0U)
		{
			if ((flags & SENSOR_RECOVERY_REQUEST_FLAG) != 0U)
			{
				if (App_RecoverTemperatureSensor())
				{
					osThreadFlagsSet(controlTaskHandle, CONTROL_RECOVERY_OK_FLAG);
				}
				else
				{
					osThreadFlagsSet(controlTaskHandle, CONTROL_RECOVERY_FAIL_FLAG);
				}
			}
		}
		/*
		 * Timeout means normal
		 * periodic sensor update.
		 */
		else if (flags == osFlagsErrorTimeout)
		{
			App_ProcessSensor();
		}
	}
  /* USER CODE END StartSensorTask */
}

void StartDisplayTask(void *argument)
{
  /* USER CODE BEGIN StartDisplayTask */
  /* Infinite loop */
  for(;;)
  {
	  App_ProcessDisplay();
	  osDelay(DISPLAY_UPDATE_PERIOD_MS);
  }
  /* USER CODE END StartDisplayTask */
}

void StartControlTask(void *argument)
{
  /* USER CODE BEGIN StartControlTask */
  /* Infinite loop */
	ProtocolCommand_t command;
	UartResponse_t response;
	uint32_t flags;

	for (;;)
	{
		/*
		 * Apply all reported faults.
		 */
		App_ProcessPendingFaults();

		/*
		 * Safety first.
		 */
		App_CheckCriticalFault();

		/*
		 * Process all pending
		 * control commands.
		 */
		while (osMessageQueueGet(commandQueueHandle, &command, NULL, 0U) == osOK)
		{
			App_HandleControlCommand(&command);

			/*
			 * A new fault may have been
			 * reported while handling
			 * the command.
			 */
			App_ProcessPendingFaults();

			App_CheckCriticalFault();
		}

		/*
		 * Normal periodic control.
		 */
		App_ProcessControl();

		/*
		 * Wait for asynchronous events
		 * or next control period.
		 */
		flags = osThreadFlagsWait(
			CONTROL_RECOVERY_OK_FLAG |
			CONTROL_RECOVERY_FAIL_FLAG |
			CONTROL_FAULT_EVENT_FLAG,
			osFlagsWaitAny,
			CONTROL_UPDATE_PERIOD_MS
		);

		/*
		 * Timeout is normal.
		 */
		if ((flags & osFlagsError) == 0U)
		{
			/*
			 * New fault reported.
			 */
			if ((flags & CONTROL_FAULT_EVENT_FLAG) != 0U)
			{
				App_ProcessPendingFaults();

				App_CheckCriticalFault();
			}

			/*
			 * Sensor recovery succeeded.
			 */
			if ((flags & CONTROL_RECOVERY_OK_FLAG) != 0U)
			{
				FaultManager_ClearAll();

				SystemState_Set(SYSTEM_STATE_IDLE);

				PWM_SetDuty(0);

				recovery_pending = 0U;

				memset(
					&response,
					0,
					sizeof(response)
				);

				snprintf(
					response.text,
					sizeof(response.text),
					"OK FAULT=0x%04X MODE=%s\r\n",
					(unsigned int)FaultManager_Get(),
					App_StateToString(SystemState_Get())
				);

				App_QueueResponse(&response);
			}

			/*
			 * Sensor recovery failed.
			 */
			if ((flags & CONTROL_RECOVERY_FAIL_FLAG) != 0U)
			{
				FaultManager_ClearAll();

				FaultManager_Set(FAULT_TEMP_SENSOR);

				SystemState_Set(SYSTEM_STATE_FAULT);

				PWM_SetDuty(0);

				recovery_pending = 0U;

				memset(
					&response,
					0,
					sizeof(response)
				);

				snprintf(
					response.text,
					sizeof(response.text),
					"ERR FAULT=0x%04X\r\n",
					(unsigned int)FaultManager_Get()
				);

				App_QueueResponse(&response);
			}
		}
	}

  /* USER CODE END StartControlTask */
}

void StartUartTask(void *argument)
{
  /* USER CODE BEGIN StartUartTask */

	uint32_t flags;
	UartResponse_t response;

	/*
	 * UART belongs to this task.
	 * Start the first DMA reception.
	 */
	App_StartUartReceive();

  /* Infinite loop */
	for (;;)
	{
		flags =
			osThreadFlagsWait(
				UART_RX_EVENT_FLAG |
				UART_TX_EVENT_FLAG,
				osFlagsWaitAny,
				osWaitForever
			);

		/*
		 * Check RTOS flag error.
		 */
		if ((flags & osFlagsError) != 0U)
		{
			continue;
		}

		/*
		 * Process RX first.
		 */
		if ((flags & UART_RX_EVENT_FLAG) != 0U)
		{
			App_ProcessUartRxData();
		}

		/*
		 * Send all pending responses.
		 */
		if ((flags & UART_TX_EVENT_FLAG) != 0U)
		{
			while (osMessageQueueGet(
					   responseQueueHandle,
					   &response,
					   NULL,
					   0U
				   ) == osOK)
			{
				App_SendText(response.text);
			}
		}
	}
  /* USER CODE END StartUartTask */
}

void HAL_TIM_PeriodElapsedCallback(TIM_HandleTypeDef *htim)
{
  if (htim->Instance == TIM6)
  {
    HAL_IncTick();
  }
}

void Error_Handler(void)
{
  __disable_irq();
  while (1)
  {
  }
}

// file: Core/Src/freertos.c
/* USER CODE BEGIN Header */
/**
  ******************************************************************************
  * File Name          : freertos.c
  * Description        : Code for freertos applications
  ******************************************************************************
  * @attention
  *
  * Copyright (c) 2026 STMicroelectronics.
  * All rights reserved.
  *
  * This software is licensed under terms that can be found in the LICENSE file
  * in the root directory of this software component.
  * If no LICENSE file comes with this software, it is provided AS-IS.
  *
  ******************************************************************************
  */
/* USER CODE END Header */

#include "FreeRTOS.h"
#include "task.h"
#include "main.h"

/* Hook prototypes */
void vApplicationStackOverflowHook(xTaskHandle xTask, signed char *pcTaskName);

/* USER CODE BEGIN 4 */
void vApplicationStackOverflowHook(xTaskHandle xTask, signed char *pcTaskName)
{
   /* Run time stack overflow checking is performed if
   configCHECK_FOR_STACK_OVERFLOW is defined to 1 or 2. This hook function is
   called if a stack overflow is detected. */

	/* USER CODE BEGIN vApplicationStackOverflowHook */

	(void)xTask;
	(void)pcTaskName;

	__disable_irq();

	while (1)
	{
		/*
		 * Put breakpoint here.
		 */
	}

	    /* USER CODE END vApplicationStackOverflowHook */
}
/* USER CODE END 4 */
